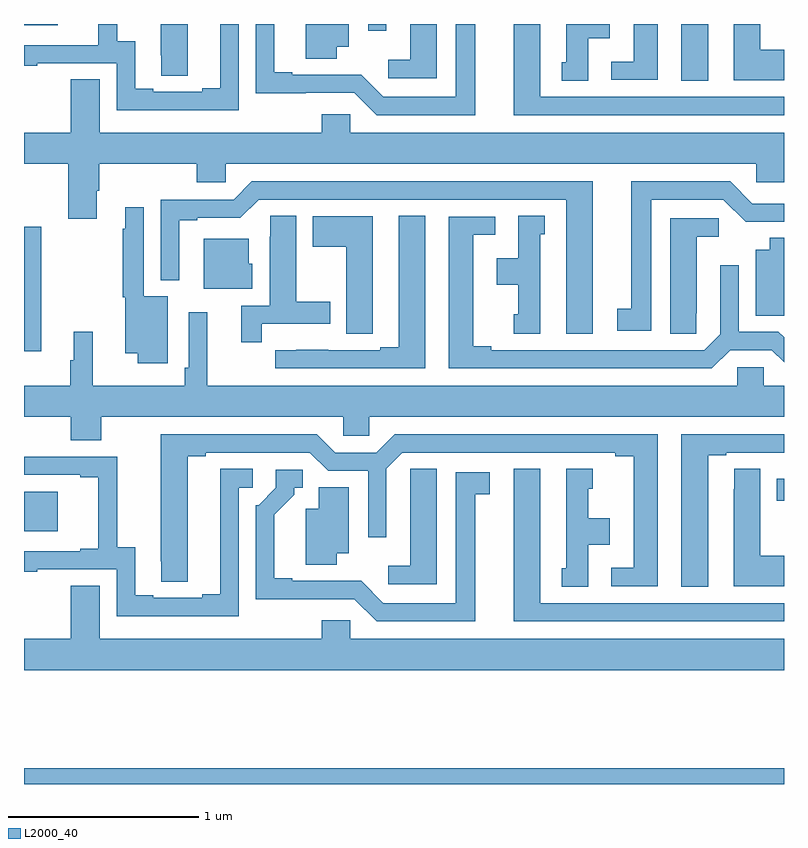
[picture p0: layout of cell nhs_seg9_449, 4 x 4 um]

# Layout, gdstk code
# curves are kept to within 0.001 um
import gdstk
lib = gdstk.Library(unit=1e-6, precision=1e-09)
def R(c, l, rs):  # rectangles x0, y0, x1, y1
    for r in rs: c.add(gdstk.rectangle(r[:2], r[2:], *l))
def P(c, l, *ps):  # polygons
    for p in ps: c.add(gdstk.Polygon(p, *l))
L2000_40 = (2000, 40)

nhs_seg9_449 = lib.new_cell('nhs_seg9_449')
R(nhs_seg9_449, L2000_40, [(133,1182.5,137,1182.584), (133,1183.829,133.177,1184.038), (136.961,1183.99,137,1184.106), (136.46,1186.201,136.6,1186.5), (134.811,1186.464,134.907,1186.5), (133,1186.493,133.177,1186.5)])
P(nhs_seg9_449, L2000_40, [(135.172,1186.5),(135.032,1186.5),(135.032,1186.312),(134.916,1186.312),(134.916,1186.215),(135.172,1186.215)],
  [(134.647,1186.379),(134.71,1186.379),(134.71,1186.5),(134.483,1186.5),(134.483,1186.318),(134.647,1186.318)],
  [(137,1186.116),(135.718,1186.116),(135.718,1186.5),(135.578,1186.5),(135.578,1186.02),(137,1186.02)],
  [(135.97,1186.424),(136.084,1186.424),(136.084,1186.5),(135.854,1186.5),(135.854,1186.299),(135.83,1186.299),(135.83,1186.201),(135.97,1186.201)],
  [(134.13,1186.5),(134.033,1186.5),(134.033,1186.163),(133.937,1186.163),(133.937,1186.143),(133.681,1186.143),(133.681,1186.158),(133.585,1186.158),(133.585,1186.409),(133.491,1186.409),(133.491,1186.5),(133.392,1186.5),(133.392,1186.39),(133.391,1186.39),(133.391,1186.389),(133,1186.389),(133,1186.281),(133.069,1186.281),(133.069,1186.293),(133.488,1186.293),(133.488,1186.047),(134.13,1186.047)],
  [(136.336,1186.5),(136.208,1186.5),(136.208,1186.302),(136.092,1186.302),(136.092,1186.206),(136.336,1186.206)],
  [(133.861,1186.5),(133.721,1186.5),(133.721,1186.336),(133.722,1186.336),(133.722,1186.228),(133.861,1186.228)],
  [(135.376,1186.5),(135.272,1186.5),(135.272,1186.116),(134.892,1186.116),(134.774,1186.234),(134.413,1186.233),(134.413,1186.246),(134.317,1186.246),(134.317,1186.5),(134.22,1186.5),(134.22,1186.136),(134.739,1186.137),(134.856,1186.02),(135.376,1186.02)],
  [(137,1186.365),(136.876,1186.365),(136.876,1186.5),(136.736,1186.5),(136.736,1186.205),(137,1186.205)],
  [(134.718,1186.026),(134.567,1186.026),(134.567,1185.928),(133.399,1185.928),(133.399,1186.208),(133.247,1186.208),(133.247,1185.928),(133,1185.928),(133,1185.764),(133.232,1185.764),(133.232,1185.474),(133.384,1185.474),(133.384,1185.622),(133.397,1185.622),(133.397,1185.764),(133.91,1185.764),(133.91,1185.666),(134.061,1185.666),(134.061,1185.764),(136.854,1185.764),(136.854,1185.666),(137,1185.666),(137,1185.928),(134.718,1185.928)],
  [(136.3,1185.576),(136.68,1185.576),(136.798,1185.458),(137,1185.459),(137,1185.555),(136.833,1185.555),(136.716,1185.672),(136.196,1185.672),(136.196,1185.002),(136.122,1185.002),(136.122,1184.886),(136.3,1184.886)],
  [(135.994,1185.672),(134.199,1185.672),(134.103,1185.576),(133.719,1185.576),(133.719,1185.152),(133.816,1185.152),(133.816,1185.468),(133.912,1185.468),(133.912,1185.48),(134.139,1185.48),(134.235,1185.576),(135.854,1185.576),(135.854,1184.871),(135.994,1184.871)],
  [(133.756,1185.067),(133.629,1185.067),(133.629,1185.535),(133.532,1185.535),(133.532,1185.422),(133.521,1185.422),(133.521,1185.063),(133.532,1185.063),(133.532,1184.768),(133.598,1184.768),(133.598,1184.715),(133.756,1184.715)],
  [(134.252,1184.922),(134.611,1184.922),(134.611,1185.039),(134.434,1185.039),(134.434,1185.491),(134.295,1185.491),(134.295,1185.38),(134.294,1185.38),(134.294,1185.018),(134.144,1185.018),(134.144,1184.826),(134.252,1184.826)],
  [(135.112,1185.491),(134.972,1185.491),(134.972,1184.799),(134.876,1184.799),(134.876,1184.784),(134.6,1184.784),(134.6,1184.785),(134.434,1184.785),(134.434,1184.784),(134.322,1184.784),(134.322,1184.688),(135.112,1184.688)],
  [(135.718,1185.393),(135.742,1185.393),(135.742,1185.491),(135.602,1185.491),(135.602,1185.268),(135.488,1185.268),(135.488,1185.128),(135.602,1185.128),(135.602,1184.973),(135.578,1184.973),(135.578,1184.871),(135.718,1184.871)],
  [(134.835,1184.977),(134.836,1184.977),(134.836,1185.487),(134.519,1185.487),(134.519,1185.328),(134.696,1185.328),(134.696,1184.869),(134.835,1184.869)],
  [(136.717,1184.784),(136.935,1184.784),(137,1184.719),(137,1184.851),(136.971,1184.88),(136.761,1184.88),(136.761,1185.229),(136.665,1185.229),(136.665,1184.868),(136.581,1184.784),(135.46,1184.784),(135.46,1184.804),(135.364,1184.804),(135.364,1185.39),(135.481,1185.39),(135.481,1185.486),(135.236,1185.486),(135.236,1184.688),(136.621,1184.688)],
  [(136.539,1184.977),(136.54,1184.977),(136.54,1185.38),(136.657,1185.38),(136.657,1185.477),(136.4,1185.477),(136.4,1184.869),(136.539,1184.869)],
  [(133.09,1185.126),(133.092,1185.126),(133.092,1185.433),(133,1185.433),(133,1184.778),(133.09,1184.778)],
  [(137,1185.374),(136.925,1185.374),(136.925,1185.313),(136.85,1185.313),(136.85,1184.965),(137,1184.965)],
  [(134.2,1185.237),(134.182,1185.237),(134.182,1185.37),(133.946,1185.37),(133.946,1185.107),(134.2,1185.107)],
  [(133.407,1184.432),(134.679,1184.432),(134.679,1184.334),(134.817,1184.334),(134.817,1184.432),(137,1184.432),(137,1184.596),(136.893,1184.596),(136.893,1184.694),(136.755,1184.694),(136.755,1184.596),(133.964,1184.596),(133.964,1184.983),(133.866,1184.983),(133.866,1184.692),(133.846,1184.692),(133.846,1184.596),(133.362,1184.596),(133.362,1184.881),(133.262,1184.881),(133.262,1184.73),(133.243,1184.73),(133.243,1184.596),(133,1184.596),(133,1184.432),(133.247,1184.432),(133.247,1184.308),(133.407,1184.308)],
  [(136.336,1184.34),(134.951,1184.34),(134.855,1184.244),(134.637,1184.244),(134.541,1184.34),(133.721,1184.34),(133.722,1183.564),(133.861,1183.564),(133.861,1184.224),(133.957,1184.224),(133.957,1184.244),(134.505,1184.244),(134.601,1184.148),(134.811,1184.148),(134.811,1183.8),(134.907,1183.8),(134.907,1184.16),(134.991,1184.244),(136.112,1184.244),(136.112,1184.224),(136.208,1184.224),(136.208,1183.638),(136.092,1183.638),(136.092,1183.542),(136.336,1183.542)],
  [(136.6,1184.229),(136.696,1184.229),(136.696,1184.244),(136.972,1184.244),(136.972,1184.243),(137,1184.243),(137,1184.34),(136.46,1184.34),(136.46,1183.537),(136.6,1183.537)],
  [(134.13,1184.058),(134.203,1184.058),(134.203,1184.159),(134.033,1184.159),(134.033,1183.499),(133.937,1183.499),(133.937,1183.479),(133.681,1183.479),(133.681,1183.494),(133.585,1183.494),(133.585,1183.745),(133.491,1183.745),(133.491,1184.223),(133,1184.223),(133,1184.127),(133.295,1184.127),(133.295,1184.115),(133.391,1184.115),(133.391,1183.738),(133.295,1183.738),(133.295,1183.725),(133,1183.725),(133,1183.617),(133.069,1183.617),(133.069,1183.629),(133.488,1183.629),(133.488,1183.383),(134.13,1183.383)],
  [(135.172,1184.159),(135.033,1184.159),(135.033,1184.051),(135.032,1184.051),(135.032,1183.648),(134.916,1183.648),(134.916,1183.551),(135.172,1183.551)],
  [(137,1183.701),(136.876,1183.701),(136.876,1184.159),(136.737,1184.159),(136.737,1184.051),(136.736,1184.051),(136.736,1183.541),(137,1183.541)],
  [(137,1183.452),(135.718,1183.452),(135.718,1184.158),(135.578,1184.158),(135.578,1183.356),(137,1183.356)],
  [(135.97,1183.76),(136.084,1183.76),(136.084,1183.9),(135.97,1183.9),(135.97,1184.055),(135.994,1184.055),(135.994,1184.158),(135.854,1184.158),(135.854,1183.635),(135.83,1183.635),(135.83,1183.537),(135.97,1183.537)],
  [(135.376,1184.026),(135.451,1184.026),(135.451,1184.142),(135.272,1184.142),(135.272,1183.452),(134.892,1183.452),(134.774,1183.57),(134.413,1183.569),(134.413,1183.582),(134.317,1183.582),(134.317,1183.918),(134.422,1184.023),(134.422,1184.058),(134.467,1184.058),(134.467,1184.154),(134.325,1184.154),(134.325,1184.058),(134.235,1183.968),(134.22,1183.968),(134.22,1183.472),(134.739,1183.473),(134.856,1183.356),(135.376,1183.356)],
  [(134.647,1183.715),(134.71,1183.715),(134.71,1184.063),(134.552,1184.063),(134.552,1183.948),(134.483,1183.948),(134.483,1183.654),(134.647,1183.654)],
  [(137,1183.264),(134.718,1183.264),(134.718,1183.362),(134.567,1183.362),(134.567,1183.264),(133.399,1183.264),(133.399,1183.544),(133.247,1183.544),(133.247,1183.264),(133,1183.264),(133,1183.1),(137,1183.1)])

lib.write_gds('nhs_seg9_449.gds')
